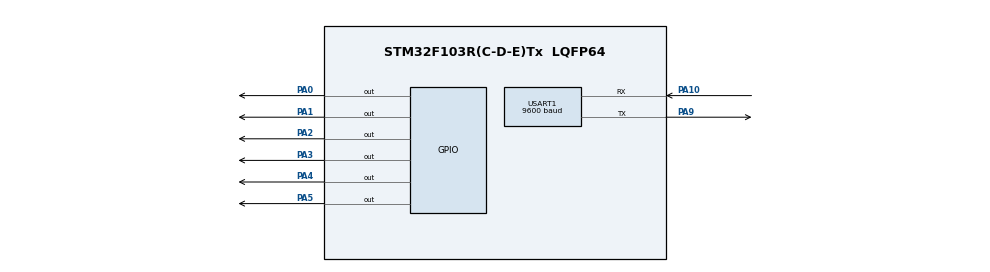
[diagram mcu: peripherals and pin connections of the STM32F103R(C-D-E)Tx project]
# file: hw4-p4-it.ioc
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Mcu.Family=STM32F1
Mcu.Name=STM32F103R(C-D-E)Tx
Mcu.Package=LQFP64
NVIC.PriorityGroup=NVIC_PRIORITYGROUP_4
NVIC.USART1_IRQn=true\:0\:0\:false\:false\:true\:true\:true\:true
PA0-WKUP.Signal=GPIO_Output
PA1.Signal=GPIO_Output
PA10.Mode=Asynchronous
PA10.Signal=USART1_RX
PA13.Mode=Serial_Wire
PA13.Signal=SYS_JTMS-SWDIO
PA14.Mode=Serial_Wire
PA14.Signal=SYS_JTCK-SWCLK
PA2.Signal=GPIO_Output
PA3.Signal=GPIO_Output
PA4.Signal=GPIO_Output
PA5.Signal=GPIO_Output
PA9.Mode=Asynchronous
PA9.Signal=USART1_TX
PD0-OSC_IN.Mode=HSE-External-Oscillator
PD0-OSC_IN.Signal=RCC_OSC_IN
PD1-OSC_OUT.Mode=HSE-External-Oscillator
PD1-OSC_OUT.Signal=RCC_OSC_OUT
ProjectManager.HeapSize=0x200
ProjectManager.StackSize=0x400
ProjectManager.TargetToolchain=MDK-ARM V5.32
RCC.APB1Freq_Value=8000000
RCC.APB2Freq_Value=8000000
USART1.BaudRate=9600
USART1.VirtualMode=VM_ASYNC
board=custom

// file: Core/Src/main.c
/* USER CODE BEGIN Header */
/**
  ******************************************************************************
  * @file           : main.c
  * @brief          : Main program body
  ******************************************************************************
  * @attention
  *
  * Copyright (c) 2026 STMicroelectronics.
  * All rights reserved.
  *
  * This software is licensed under terms that can be found in the LICENSE file
  * in the root directory of this software component.
  * If no LICENSE file comes with this software, it is provided AS-IS.
  *
  ******************************************************************************
  */
/* USER CODE END Header */
#include "main.h"

/* USER CODE BEGIN Includes */
#include "lcd.h"

/* USER CODE END Includes */

/* USER CODE BEGIN PTD */
#define LCD_D4_PORT  GPIOA
#define LCD_D4_PIN   GPIO_PIN_0
#define LCD_D5_PORT  GPIOA
#define LCD_D5_PIN   GPIO_PIN_1
#define LCD_D6_PORT  GPIOA
#define LCD_D6_PIN   GPIO_PIN_2
#define LCD_D7_PORT  GPIOA
#define LCD_D7_PIN   GPIO_PIN_3

#define LCD_RS_PORT  GPIOA
#define LCD_RS_PIN   GPIO_PIN_4
#define LCD_EN_PORT  GPIOA
#define LCD_EN_PIN   GPIO_PIN_5
/* USER CODE END PTD */
/* USER CODE END PTD */

UART_HandleTypeDef huart1;

/* USER CODE BEGIN PV */
Lcd_HandleTypeDef mylcd;
uint8_t rx_byte = 0;
volatile uint8_t data_ready = 0;
char lcd_buffer[16];
/* USER CODE END PV */

void SystemClock_Config(void);
static void MX_GPIO_Init(void);
static void MX_USART1_UART_Init(void);

/* USER CODE BEGIN 0 */
void HAL_UART_RxCpltCallback(UART_HandleTypeDef *huart)
{
    // Verify the interrupt came from the correct UART port (USART1)
    if (huart->Instance == USART1)
    {
        data_ready = 1; // Set the flag so the main loop knows data arrived

        // CRITICAL: In STM32 HAL, interrupts turn off after receiving.
        // We must re-arm the interrupt to catch the next number from MATLAB!
        HAL_UART_Receive_IT(&huart1, &rx_byte, 1);
    }
}
/* USER CODE END 0 */

int main(void)
{

  /* MCU Configuration--------------------------------------------------------*/

  /* Reset of all peripherals, Initializes the Flash interface and the Systick. */
  HAL_Init();

  /* Configure the system clock */
  SystemClock_Config();

  /* Initialize all configured peripherals */
  MX_GPIO_Init();
  MX_USART1_UART_Init();
  /* USER CODE BEGIN 2 */
Lcd_PortType lcd_ports[] = {LCD_D4_PORT, LCD_D5_PORT, LCD_D6_PORT, LCD_D7_PORT};
Lcd_PinType  lcd_pins[]  = {LCD_D4_PIN, LCD_D5_PIN, LCD_D6_PIN, LCD_D7_PIN};

// Initialize the LCD
mylcd = Lcd_create(lcd_ports, lcd_pins, LCD_RS_PORT, LCD_RS_PIN, LCD_EN_PORT, LCD_EN_PIN, LCD_4_BIT_MODE);

Lcd_clear(&mylcd);
Lcd_cursor(&mylcd, 0, 0);
Lcd_string(&mylcd, "Mode: INTERRUPT");

// Arm the UART to listen for the VERY FIRST byte from MATLAB
HAL_UART_Receive_IT(&huart1, &rx_byte, 1);
  /* USER CODE END 2 */

  /* Infinite loop */
  while (1)
  {

    /* USER CODE BEGIN 3 */
		if (data_ready == 1)
    {
        data_ready = 0; // Lower the flag immediately

        Lcd_cursor(&mylcd, 1, 0);

        // Format the received byte (0-255) with leading zeros if desired
        // %03d means 5 becomes "005", keeping the LCD characters perfectly aligned
        sprintf(lcd_buffer, "Val: %03d   ", rx_byte);
        Lcd_string(&mylcd, lcd_buffer);
    }
  }
  /* USER CODE END 3 */
}

void SystemClock_Config(void)
{
  RCC_OscInitTypeDef RCC_OscInitStruct = {0};
  RCC_ClkInitTypeDef RCC_ClkInitStruct = {0};

  /** Initializes the RCC Oscillators according to the specified parameters
  * in the RCC_OscInitTypeDef structure.
  */
  RCC_OscInitStruct.OscillatorType = RCC_OSCILLATORTYPE_HSI;
  RCC_OscInitStruct.HSIState = RCC_HSI_ON;
  RCC_OscInitStruct.HSICalibrationValue = RCC_HSICALIBRATION_DEFAULT;
  RCC_OscInitStruct.PLL.PLLState = RCC_PLL_NONE;
  if (HAL_RCC_OscConfig(&RCC_OscInitStruct) != HAL_OK)
  {
    Error_Handler();
  }

  /** Initializes the CPU, AHB and APB buses clocks
  */
  RCC_ClkInitStruct.ClockType = RCC_CLOCKTYPE_HCLK|RCC_CLOCKTYPE_SYSCLK
                              |RCC_CLOCKTYPE_PCLK1|RCC_CLOCKTYPE_PCLK2;
  RCC_ClkInitStruct.SYSCLKSource = RCC_SYSCLKSOURCE_HSI;
  RCC_ClkInitStruct.AHBCLKDivider = RCC_SYSCLK_DIV1;
  RCC_ClkInitStruct.APB1CLKDivider = RCC_HCLK_DIV1;
  RCC_ClkInitStruct.APB2CLKDivider = RCC_HCLK_DIV1;

  if (HAL_RCC_ClockConfig(&RCC_ClkInitStruct, FLASH_LATENCY_0) != HAL_OK)
  {
    Error_Handler();
  }
}

static void MX_USART1_UART_Init(void)
{

  huart1.Instance = USART1;
  huart1.Init.BaudRate = 9600;
  huart1.Init.WordLength = UART_WORDLENGTH_8B;
  huart1.Init.StopBits = UART_STOPBITS_1;
  huart1.Init.Parity = UART_PARITY_NONE;
  huart1.Init.Mode = UART_MODE_TX_RX;
  huart1.Init.HwFlowCtl = UART_HWCONTROL_NONE;
  huart1.Init.OverSampling = UART_OVERSAMPLING_16;
  if (HAL_UART_Init(&huart1) != HAL_OK)
  {
    Error_Handler();
  }

}

static void MX_GPIO_Init(void)
{
  GPIO_InitTypeDef GPIO_InitStruct = {0};

  /* GPIO Ports Clock Enable */
  __HAL_RCC_GPIOD_CLK_ENABLE();
  __HAL_RCC_GPIOA_CLK_ENABLE();

  /*Configure GPIO pin Output Level */
  HAL_GPIO_WritePin(GPIOA, GPIO_PIN_0|GPIO_PIN_1|GPIO_PIN_2|GPIO_PIN_3
                          |GPIO_PIN_4|GPIO_PIN_5, GPIO_PIN_RESET);

  /*Configure GPIO pins : PA0 PA1 PA2 PA3
                           PA4 PA5 */
  GPIO_InitStruct.Pin = GPIO_PIN_0|GPIO_PIN_1|GPIO_PIN_2|GPIO_PIN_3
                          |GPIO_PIN_4|GPIO_PIN_5;
  GPIO_InitStruct.Mode = GPIO_MODE_OUTPUT_PP;
  GPIO_InitStruct.Pull = GPIO_NOPULL;
  GPIO_InitStruct.Speed = GPIO_SPEED_FREQ_LOW;
  HAL_GPIO_Init(GPIOA, &GPIO_InitStruct);

}

void Error_Handler(void)
{
  __disable_irq();
  while (1)
  {
  }
}
